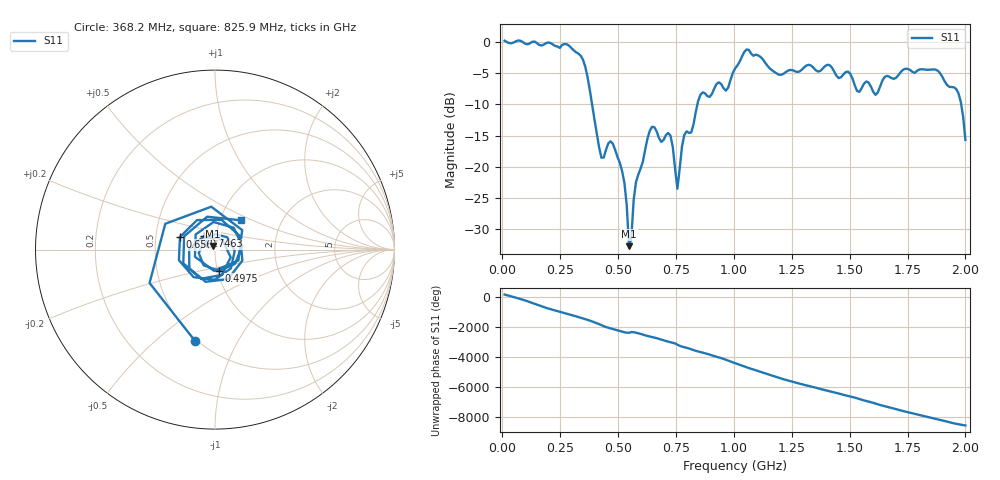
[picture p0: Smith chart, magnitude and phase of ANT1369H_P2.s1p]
!Created with skrf (http://scikit-rf.org).
# Hz S RI R 50.0
!freq ReS11 ImS11
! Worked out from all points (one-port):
!   201 points, 10 MHz to 2 GHz, reference 50 ohm
!   lowest |S11| = -32.7 dB at 547.3 MHz (marker M1), VSWR 1.05, Z = 48.8 + j1.97 ohm
!   |S11| at or under -10 dB: 387.6 MHz to 842.7 MHz (455.1 MHz wide, 74 % of centre); 1.982 GHz to end of sweep
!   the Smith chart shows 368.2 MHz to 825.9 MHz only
!   S11 on the Smith chart (normalised r, x): 368.2 MHz: 0.49, -0.69; 497.6 MHz: 1.01, -0.24; 656.8 MHz: 0.67, +0.10; 746.3 MHz: 0.87, +0.13; 825.9 MHz: 1.26, +0.43
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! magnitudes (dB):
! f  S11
! 10 MHz  0.2
! 258.8 MHz  -0.5
! 338.4 MHz  -2.2
! 368.2 MHz  -5.6
! 427.9 MHz  -18.5
! 467.7 MHz  -15.9
! 497.6 MHz  -18.4
! 507.5 MHz  -19.3
! 527.4 MHz  -22.5
! 547.3 MHz  -32.7
! 557.2 MHz  -31.4
! 577.1 MHz  -22.5
! 656.8 MHz  -13.7
! 726.4 MHz  -15.0
! 746.3 MHz  -20.3
! 756.2 MHz  -23.5
! 786.1 MHz  -14.9
! 825.9 MHz  -13.2
! 855.8 MHz  -8.5
! 965.2 MHz  -7.8
! 1.005 GHz  -4.3
! 1.055 GHz  -1.2
! 1.254 GHz  -4.5
! 1.502 GHz  -5.1
! 1.612 GHz  -8.5
! 1.751 GHz  -4.3
! 1.96 GHz  -7.5
! 2 GHz  -15.7
